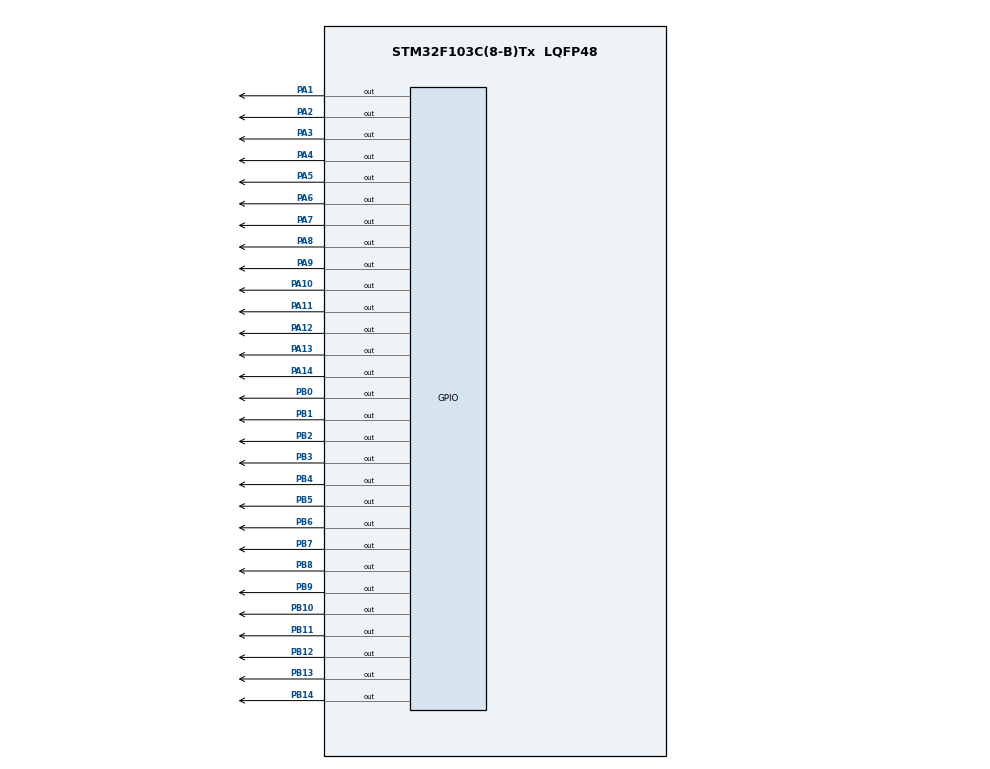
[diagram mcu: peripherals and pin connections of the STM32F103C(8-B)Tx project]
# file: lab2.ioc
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Mcu.Family=STM32F1
Mcu.Name=STM32F103C(8-B)Tx
Mcu.Package=LQFP48
NVIC.PriorityGroup=NVIC_PRIORITYGROUP_4
NVIC.TIM2_IRQn=true\:0\:0\:false\:false\:true\:true\:true\:true
PA1.Signal=GPIO_Output
PA10.Signal=GPIO_Output
PA11.Signal=GPIO_Output
PA12.Signal=GPIO_Output
PA13.Signal=GPIO_Output
PA14.Signal=GPIO_Output
PA2.Signal=GPIO_Output
PA3.Signal=GPIO_Output
PA4.Signal=GPIO_Output
PA5.Signal=GPIO_Output
PA6.Signal=GPIO_Output
PA7.Signal=GPIO_Output
PA8.Signal=GPIO_Output
PA9.Signal=GPIO_Output
PB0.Signal=GPIO_Output
PB1.Signal=GPIO_Output
PB10.Signal=GPIO_Output
PB11.Signal=GPIO_Output
PB12.Signal=GPIO_Output
PB13.Signal=GPIO_Output
PB14.Signal=GPIO_Output
PB2.Signal=GPIO_Output
PB3.Signal=GPIO_Output
PB4.Signal=GPIO_Output
PB5.Signal=GPIO_Output
PB6.Signal=GPIO_Output
PB7.Signal=GPIO_Output
PB8.Signal=GPIO_Output
PB9.Signal=GPIO_Output
ProjectManager.HeapSize=0x200
ProjectManager.StackSize=0x400
ProjectManager.TargetToolchain=STM32CubeIDE
RCC.APB1Freq_Value=8000000
RCC.APB2Freq_Value=8000000
RCC.USBFreq_Value=8000000
TIM2.Period=99
TIM2.Prescaler=799
VP_TIM2_VS_ClockSourceINT.Mode=Internal
board=custom

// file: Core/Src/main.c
/* USER CODE BEGIN Header */
/**
 ******************************************************************************
 * @file           : main.c
 * @brief          : Main program body
 ******************************************************************************
 * @attention
 *
 * Copyright (c) 2023 STMicroelectronics.
 * All rights reserved.
 *
 * This software is licensed under terms that can be found in the LICENSE file
 * in the root directory of this software component.
 * If no LICENSE file comes with this software, it is provided AS-IS.
 *
 ******************************************************************************
 */
/* USER CODE END Header */
#include "main.h"

/* USER CODE BEGIN Includes */
#include"software_timer.h"
#include "led.h"
#include<string.h>
/* USER CODE END Includes */

/* USER CODE BEGIN PD */
#define TIME 1//0.001s
#define TIME1 100 // 1s
/* USER CODE END PD */

TIM_HandleTypeDef htim2;

void SystemClock_Config(void);
static void MX_GPIO_Init(void);
static void MX_TIM2_Init(void);

/* USER CODE BEGIN 0 */
struct s_timer timer;
struct s_timer timer1;
/* USER CODE END 0 */

int main(void) {

	/* MCU Configuration--------------------------------------------------------*/

	/* Reset of all peripherals, Initializes the Flash interface and the Systick. */
	HAL_Init();

	/* USER CODE BEGIN Init */
	struct led8x8 m_led;
	int index1 = 0;
	uint8_t cur_buffer[8] = { 0 };
	char c = 'A';
	memcpy(cur_buffer, chu_cai + (c - 65) * 8, sizeof(cur_buffer));

	initLED8x8(&m_led, GPIOA, GPIO_PIN_1, GPIO_PIN_2, GPIO_PIN_3, GPIO_PIN_10,
	GPIO_PIN_11, GPIO_PIN_12, GPIO_PIN_13, GPIO_PIN_14, GPIOB,
	GPIO_PIN_7, GPIO_PIN_8, GPIO_PIN_9, GPIO_PIN_10, GPIO_PIN_11,
	GPIO_PIN_12, GPIO_PIN_13, GPIO_PIN_14, cur_buffer);

	/* USER CODE END Init */

	/* Configure the system clock */
	SystemClock_Config();

	/* Initialize all configured peripherals */
	MX_GPIO_Init();
	MX_TIM2_Init();
	/* USER CODE BEGIN 2 */
	HAL_TIM_Base_Start_IT(&htim2);
	set_timer(&timer, TIME);
	set_timer(&timer1, TIME1);
	/* USER CODE END 2 */

	/* Infinite loop */
	/* USER CODE BEGIN WHILE */
	while (1) {
		if (!timer.st) {
			updateLED8x8(&m_led, index1++);
			if (index1 > 7) {
				index1 = 0;
			}
			set_timer(&timer, TIME);
		}
		if (!timer1.st) {
			c++;
			if (c > 'Z')
				c = 'A';
			memcpy(cur_buffer, chu_cai + (c - 65) * 8, sizeof(cur_buffer));
			HAL_GPIO_TogglePin(GPIOC, GPIO_PIN_13);
			set_timer(&timer1, TIME1);
		}
		/* USER CODE END WHILE */

	}
}

void SystemClock_Config(void) {
	RCC_OscInitTypeDef RCC_OscInitStruct = { 0 };
	RCC_ClkInitTypeDef RCC_ClkInitStruct = { 0 };

	/** Initializes the RCC Oscillators according to the specified parameters
	 * in the RCC_OscInitTypeDef structure.
	 */
	RCC_OscInitStruct.OscillatorType = RCC_OSCILLATORTYPE_HSI;
	RCC_OscInitStruct.HSIState = RCC_HSI_ON;
	RCC_OscInitStruct.HSICalibrationValue = RCC_HSICALIBRATION_DEFAULT;
	RCC_OscInitStruct.PLL.PLLState = RCC_PLL_NONE;
	if (HAL_RCC_OscConfig(&RCC_OscInitStruct) != HAL_OK) {
		Error_Handler();
	}

	/** Initializes the CPU, AHB and APB buses clocks
	 */
	RCC_ClkInitStruct.ClockType = RCC_CLOCKTYPE_HCLK | RCC_CLOCKTYPE_SYSCLK
			| RCC_CLOCKTYPE_PCLK1 | RCC_CLOCKTYPE_PCLK2;
	RCC_ClkInitStruct.SYSCLKSource = RCC_SYSCLKSOURCE_HSI;
	RCC_ClkInitStruct.AHBCLKDivider = RCC_SYSCLK_DIV1;
	RCC_ClkInitStruct.APB1CLKDivider = RCC_HCLK_DIV1;
	RCC_ClkInitStruct.APB2CLKDivider = RCC_HCLK_DIV1;

	if (HAL_RCC_ClockConfig(&RCC_ClkInitStruct, FLASH_LATENCY_0) != HAL_OK) {
		Error_Handler();
	}
}

static void MX_TIM2_Init(void) {

	TIM_ClockConfigTypeDef sClockSourceConfig = { 0 };
	TIM_MasterConfigTypeDef sMasterConfig = { 0 };

	htim2.Instance = TIM2;
	htim2.Init.Prescaler = 799;
	htim2.Init.CounterMode = TIM_COUNTERMODE_UP;
	htim2.Init.Period = 99;
	htim2.Init.ClockDivision = TIM_CLOCKDIVISION_DIV1;
	htim2.Init.AutoReloadPreload = TIM_AUTORELOAD_PRELOAD_DISABLE;
	if (HAL_TIM_Base_Init(&htim2) != HAL_OK) {
		Error_Handler();
	}
	sClockSourceConfig.ClockSource = TIM_CLOCKSOURCE_INTERNAL;
	if (HAL_TIM_ConfigClockSource(&htim2, &sClockSourceConfig) != HAL_OK) {
		Error_Handler();
	}
	sMasterConfig.MasterOutputTrigger = TIM_TRGO_RESET;
	sMasterConfig.MasterSlaveMode = TIM_MASTERSLAVEMODE_DISABLE;
	if (HAL_TIMEx_MasterConfigSynchronization(&htim2, &sMasterConfig)
			!= HAL_OK) {
		Error_Handler();
	}

}

static void MX_GPIO_Init(void) {
	GPIO_InitTypeDef GPIO_InitStruct = { 0 };

	/* GPIO Ports Clock Enable */
	__HAL_RCC_GPIOA_CLK_ENABLE();
	__HAL_RCC_GPIOB_CLK_ENABLE();

	/*Configure GPIO pin Output Level */
	HAL_GPIO_WritePin(GPIOA,
			GPIO_PIN_1 | GPIO_PIN_2 | GPIO_PIN_3 | GPIO_PIN_4 | GPIO_PIN_5
					| GPIO_PIN_6 | GPIO_PIN_7 | GPIO_PIN_8 | GPIO_PIN_9
					| GPIO_PIN_10 | GPIO_PIN_11 | GPIO_PIN_12 | GPIO_PIN_13
					| GPIO_PIN_14, GPIO_PIN_RESET);

	/*Configure GPIO pin Output Level */
	HAL_GPIO_WritePin(GPIOB,
			GPIO_PIN_0 | GPIO_PIN_1 | GPIO_PIN_2 | GPIO_PIN_10 | GPIO_PIN_11
					| GPIO_PIN_12 | GPIO_PIN_13 | GPIO_PIN_14 | GPIO_PIN_3
					| GPIO_PIN_4 | GPIO_PIN_5 | GPIO_PIN_6 | GPIO_PIN_7
					| GPIO_PIN_8 | GPIO_PIN_9, GPIO_PIN_RESET);

	/*Configure GPIO pins : PA1 PA2 PA3 PA4
	 PA5 PA6 PA7 PA8
	 PA9 PA10 PA11 PA12
	 PA13 PA14 */
	GPIO_InitStruct.Pin = GPIO_PIN_1 | GPIO_PIN_2 | GPIO_PIN_3 | GPIO_PIN_4
			| GPIO_PIN_5 | GPIO_PIN_6 | GPIO_PIN_7 | GPIO_PIN_8 | GPIO_PIN_9
			| GPIO_PIN_10 | GPIO_PIN_11 | GPIO_PIN_12 | GPIO_PIN_13
			| GPIO_PIN_14;
	GPIO_InitStruct.Mode = GPIO_MODE_OUTPUT_PP;
	GPIO_InitStruct.Pull = GPIO_NOPULL;
	GPIO_InitStruct.Speed = GPIO_SPEED_FREQ_LOW;
	HAL_GPIO_Init(GPIOA, &GPIO_InitStruct);

	/*Configure GPIO pins : PB0 PB1 PB2 PB10
	 PB11 PB12 PB13 PB14
	 PB3 PB4 PB5 PB6
	 PB7 PB8 PB9 */
	GPIO_InitStruct.Pin = GPIO_PIN_0 | GPIO_PIN_1 | GPIO_PIN_2 | GPIO_PIN_10
			| GPIO_PIN_11 | GPIO_PIN_12 | GPIO_PIN_13 | GPIO_PIN_14 | GPIO_PIN_3
			| GPIO_PIN_4 | GPIO_PIN_5 | GPIO_PIN_6 | GPIO_PIN_7 | GPIO_PIN_8
			| GPIO_PIN_9;
	GPIO_InitStruct.Mode = GPIO_MODE_OUTPUT_PP;
	GPIO_InitStruct.Pull = GPIO_NOPULL;
	GPIO_InitStruct.Speed = GPIO_SPEED_FREQ_LOW;
	HAL_GPIO_Init(GPIOB, &GPIO_InitStruct);

}

/* USER CODE BEGIN 4 */
void HAL_TIM_PeriodElapsedCallback(TIM_HandleTypeDef *htim) {
	run_timer(&timer);
	run_timer(&timer1);
}
/* USER CODE END 4 */

void Error_Handler(void) {
	__disable_irq();
	while (1) {
	}
}
